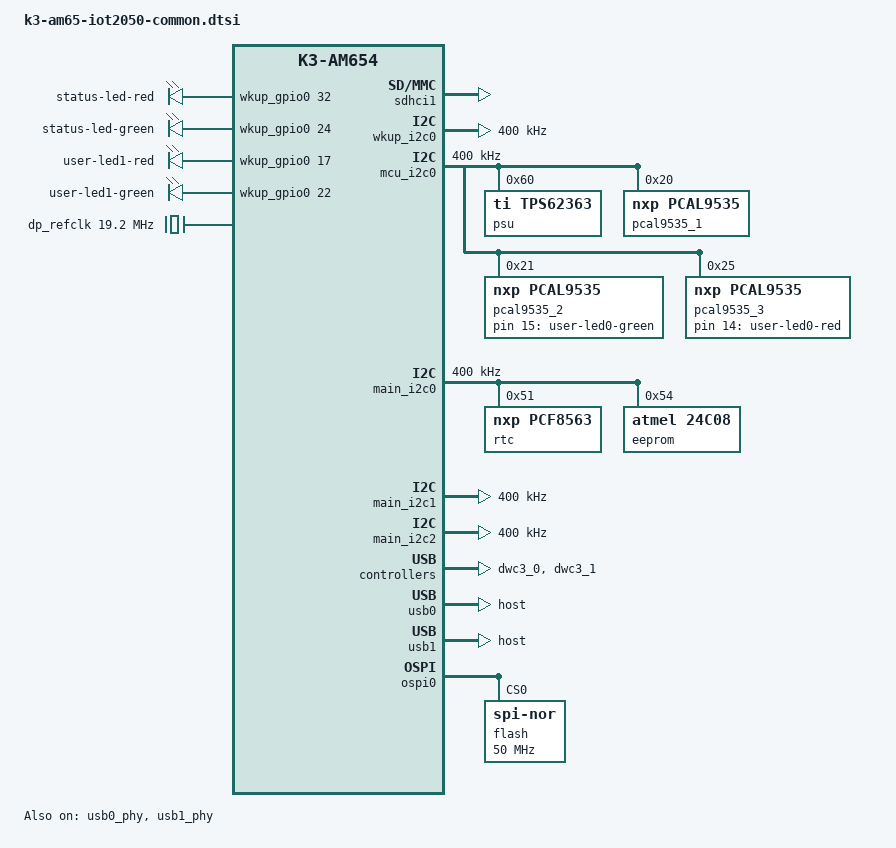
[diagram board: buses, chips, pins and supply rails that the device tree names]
// SPDX-License-Identifier: GPL-2.0
/*
 * Copyright (c) Siemens AG, 2018-2020
 *
 * Authors:
 *   Le Jin <le.jin@siemens.com>
 *   Jan Kiszka <jan.kiszk@siemens.com>
 */

/dts-v1/;

#include "k3-am654.dtsi"

/ {
	aliases {
		remoteproc0 = &mcu_r5fss0_core0;
		remoteproc1 = &mcu_r5fss0_core1;
		serial3 = &main_uart1;
	};

	chosen {
		stdout-path = "serial3:115200n8";
		bootargs = "earlycon=ns16550a,mmio32,0x02800000";
	};

	reserved-memory {
		#address-cells = <2>;
		#size-cells = <2>;
		ranges;

		secure_ddr: secure_ddr@9e800000 {
			reg = <0 0x9e800000 0 0x01800000>; /* for OP-TEE */
			alignment = <0x1000>;
			no-map;
		};
	};

	gpio_leds {
		compatible = "gpio-leds";
		pinctrl-names = "default";
		pinctrl-0 = <&leds_pins_default>;
		u-boot,dm-spl;

		status-led-red {
			gpios = <&wkup_gpio0 32 GPIO_ACTIVE_HIGH>;
			panic-indicator;
			linux,default-trigger = "gpio";
			u-boot,dm-spl;
		};

		status-led-green {
			gpios = <&wkup_gpio0 24 GPIO_ACTIVE_HIGH>;
			linux,default-trigger = "gpio";
			u-boot,dm-spl;
		};

		user-led0-red {
			gpios = <&pcal9535_3 14 GPIO_ACTIVE_HIGH>;
			linux,default-trigger = "gpio";
		};

		user-led0-green {
			gpios = <&pcal9535_2 15 GPIO_ACTIVE_HIGH>;
			linux,default-trigger = "gpio";
		};

		user-led1-red {
			gpios = <&wkup_gpio0 17 GPIO_ACTIVE_HIGH>;
			linux,default-trigger = "gpio";
		};

		user-led1-green {
			gpios = <&wkup_gpio0 22 GPIO_ACTIVE_HIGH>;
			linux,default-trigger = "gpio";
		};
	};

	dp_refclk: clock {
		compatible = "fixed-clock";
		#clock-cells = <0>;
		clock-frequency = <19200000>;
	};
};

&cbass_main {
	u-boot,dm-spl;

	sdhci1: sdhci@04FA0000 {
		compatible = "ti,am654-sdhci-5.1";
		reg = <0x0 0x4FA0000 0x0 0x1000>,
		      <0x0 0x4FB0000 0x0 0x400>;
		power-domains = <&k3_pds 48 TI_SCI_PD_EXCLUSIVE>;
		clocks = <&k3_clks 48 0>, <&k3_clks 48 1>;
		clock-names = "clk_ahb", "clk_xin";
		max-frequency = <25000000>;
		pinctrl-names = "default";
		pinctrl-0 = <&main_mmc1_pins_default>;
		sdhci-caps-mask = <0x7 0x200000>;
		ti,otap-del-sel-legacy = <0x0>;
		ti,otap-del-sel-mmc-hs = <0x0>;
		ti,otap-del-sel-sd-hs = <0x0>;
		ti,otap-del-sel-sdr12 = <0x0>;
		ti,otap-del-sel-sdr25 = <0x0>;
		ti,otap-del-sel-sdr50 = <0x8>;
		ti,otap-del-sel-sdr104 = <0x7>;
		ti,otap-del-sel-ddr50 = <0x4>;
		ti,otap-del-sel-ddr52 = <0x4>;
		ti,otap-del-sel-hs200 = <0x7>;
		ti,trm-icp = <0x8>;
		ti,driver-strength-ohm = <50>;
		status = "okay";
	};
};

&cbass_mcu {
	u-boot,dm-spl;
};

&cbass_wakeup {
	u-boot,dm-spl;

	wkup_gpio0: wkup_gpio0@42110000 {
		compatible = "ti,k2g-gpio", "ti,keystone-gpio";
		reg = <0x42110000 0x100>;
		gpio-controller;
		#gpio-cells = <2>;
		ti,ngpio = <56>;
		ti,davinci-gpio-unbanked = <0>;
		clocks = <&k3_clks 59 0>;
		clock-names = "gpio";
		u-boot,dm-spl;
	};
};

&wkup_pmx0 {
	u-boot,dm-spl;

	wkup_i2c0_pins_default: wkup_i2c0_pins_default {
		pinctrl-single,pins = <
			AM65X_WKUP_IOPAD(0x00e0, PIN_INPUT,  0)  /* (AC7) WKUP_I2C0_SCL */
			AM65X_WKUP_IOPAD(0x00e4, PIN_INPUT,  0)  /* (AD6) WKUP_I2C0_SDA */
		>;
	};

	mcu_i2c0_pins_default: mcu_i2c0_pins_default {
		pinctrl-single,pins = <
			AM65X_WKUP_IOPAD(0x00e8, PIN_INPUT,  0)  /* (AD8) MCU_I2C0_SCL */
			AM65X_WKUP_IOPAD(0x00ec, PIN_INPUT,  0)  /* (AD7) MCU_I2C0_SDA */
		>;
	};

	arduino_i2c_aio_switch_pins_default: arduino_i2c_aio_switch_pins_default {
		pinctrl-single,pins = <
			AM65X_WKUP_IOPAD(0x0024, PIN_OUTPUT, 7)  /* (R2) WKUP_GPIO0_21 */
		>;
	};

	push_button_pins_default: push_button_pins_default {
		pinctrl-single,pins = <
			AM65X_WKUP_IOPAD(0x0034, PIN_INPUT,  7)  /* (T1) MCU_OSPI1_CLK.WKUP_GPIO0_25 */
		>;
	};

	arduino_uart_pins_default: arduino_uart_pins_default {
		pinctrl-single,pins = <
			AM65X_WKUP_IOPAD(0x0044, PIN_INPUT,  4)  /* (P4) MCU_UART0_RXD */
			AM65X_WKUP_IOPAD(0x0048, PIN_OUTPUT, 4)  /* (P5) MCU_UART0_TXD */
		>;
	};

	arduino_io_d2_to_d3_pins_default: arduino_io_d2_to_d3_pins_default {
		pinctrl-single,pins = <
			AM65X_WKUP_IOPAD(0x004C, PIN_OUTPUT, 7)  /* (P1) WKUP_GPIO0_31 */
			AM65X_WKUP_IOPAD(0x0054, PIN_OUTPUT, 7)  /* (N3) WKUP_GPIO0_33 */
		>;
	};

	arduino_io_oe_pins_default: arduino_io_oe_pins_default {
		pinctrl-single,pins = <
			AM65X_WKUP_IOPAD(0x0058, PIN_OUTPUT, 7)  /* (N4) WKUP_GPIO0_34 */
			AM65X_WKUP_IOPAD(0x0060, PIN_OUTPUT, 7)  /* (M2) WKUP_GPIO0_36 */
			AM65X_WKUP_IOPAD(0x0064, PIN_OUTPUT, 7)  /* (M3) WKUP_GPIO0_37 */
			AM65X_WKUP_IOPAD(0x0068, PIN_OUTPUT, 7)  /* (M4) WKUP_GPIO0_38 */
			AM65X_WKUP_IOPAD(0x0074, PIN_OUTPUT, 7)  /* (M1) WKUP_GPIO0_41 */
		>;
	};

	mcu_fss0_ospi0_pins_default: mcu_fss0_ospi0_pins_default {
		pinctrl-single,pins = <
			AM65X_WKUP_IOPAD(0x0000, PIN_OUTPUT, 0)  /* (V1) MCU_OSPI0_CLK */
			AM65X_WKUP_IOPAD(0x0008, PIN_INPUT,  0)  /* (U2) MCU_OSPI0_DQS */
			AM65X_WKUP_IOPAD(0x000c, PIN_INPUT,  0)  /* (U4) MCU_OSPI0_D0 */
			AM65X_WKUP_IOPAD(0x0010, PIN_INPUT,  0)  /* (U5) MCU_OSPI0_D1 */
			AM65X_WKUP_IOPAD(0x002c, PIN_OUTPUT, 0)  /* (R4) MCU_OSPI0_CSn0 */
		>;
		u-boot,dm-spl;
	};

	db9_com_mode_pins_default: db9_com_mode_pins_default {
		pinctrl-single,pins = <
			AM65X_WKUP_IOPAD(0x00c4, PIN_OUTPUT, 7)  /* (AD3) WKUP_GPIO0_5, used as uart0 mode 0 */
			AM65X_WKUP_IOPAD(0x00c0, PIN_OUTPUT, 7)  /* (AC3) WKUP_GPIO0_4, used as uart0 mode 1 */
			AM65X_WKUP_IOPAD(0x00cc, PIN_OUTPUT, 7)  /* (AC1) WKUP_GPIO0_7, used as uart0 term */
			AM65X_WKUP_IOPAD(0x00c8, PIN_OUTPUT, 7)  /* (AC2) WKUP_GPIO0_6, used as uart0 en */
		>;
	};

	leds_pins_default: leds_pins_default {
		pinctrl-single,pins = <
			AM65X_WKUP_IOPAD(0x0014, PIN_OUTPUT, 7)  /* (T2) WKUP_GPIO0_17, used as user led1 red */
			AM65X_WKUP_IOPAD(0x0028, PIN_OUTPUT, 7)  /* (R3) WKUP_GPIO0_22, used as user led1 green */
			AM65X_WKUP_IOPAD(0x0030, PIN_OUTPUT, 7)  /* (R5) WKUP_GPIO0_24, used as status led red */
			AM65X_WKUP_IOPAD(0x0050, PIN_OUTPUT, 7)  /* (N2) WKUP_GPIO0_32, used as status led green */
		>;
	};

	mcu_spi0_pins_default: mcu_spi0_pins_default {
		pinctrl-single,pins = <
			AM65X_WKUP_IOPAD(0x0090, PIN_INPUT,  0)  /* (Y1) MCU_SPI0_CLK */
			AM65X_WKUP_IOPAD(0x0094, PIN_INPUT,  0)  /* (Y3) MCU_SPI0_D0 */
			AM65X_WKUP_IOPAD(0x0098, PIN_INPUT,  0)  /* (Y2) MCU_SPI0_D1 */
			AM65X_WKUP_IOPAD(0x009c, PIN_OUTPUT, 0)  /* (Y4) MCU_SPI0_CS0 */
		>;
	};

	minipcie_pins_default: minipcie_pins_default {
		pinctrl-single,pins = <
			AM65X_WKUP_IOPAD(0x003C, PIN_OUTPUT, 7)  /* (P2) MCU_OSPI1_DQS.WKUP_GPIO0_27 */
		>;
	};
};

&main_pmx0 {
	u-boot,dm-spl;

	main_uart1_pins_default: main_uart1_pins_default {
		pinctrl-single,pins = <
			AM65X_IOPAD(0x0174, PIN_INPUT,  6)  /* (AE23) UART1_RXD */
			AM65X_IOPAD(0x014c, PIN_OUTPUT, 6)  /* (AD23) UART1_TXD */
			AM65X_IOPAD(0x0178, PIN_INPUT,  6)  /* (AD22) UART1_CTSn */
			AM65X_IOPAD(0x017c, PIN_OUTPUT, 6)  /* (AC21) UART1_RTSn */
		>;
		u-boot,dm-spl;
	};

	main_i2c3_pins_default: main_i2c3_pins_default {
		pinctrl-single,pins = <
			AM65X_IOPAD(0x01c0, PIN_INPUT,  2)  /* (AF13) I2C3_SCL */
			AM65X_IOPAD(0x01d4, PIN_INPUT,  2)  /* (AG12) I2C3_SDA */
		>;
	};

	main_mmc1_pins_default: main_mmc1_pins_default {
		pinctrl-single,pins = <
			AM65X_IOPAD(0x02d4, PIN_INPUT_PULLDOWN, 0)  /* (C27) MMC1_CLK */
			AM65X_IOPAD(0x02d8, PIN_INPUT_PULLUP,   0)  /* (C28) MMC1_CMD */
			AM65X_IOPAD(0x02d0, PIN_INPUT_PULLUP,   0)  /* (D28) MMC1_DAT0 */
			AM65X_IOPAD(0x02cc, PIN_INPUT_PULLUP,   0)  /* (E27) MMC1_DAT1 */
			AM65X_IOPAD(0x02c8, PIN_INPUT_PULLUP,   0)  /* (D26) MMC1_DAT2 */
			AM65X_IOPAD(0x02c4, PIN_INPUT_PULLUP,   0)  /* (D27) MMC1_DAT3 */
			AM65X_IOPAD(0x02dc, PIN_INPUT_PULLUP,   0)  /* (B24) MMC1_SDCD */
			AM65X_IOPAD(0x02e0, PIN_INPUT_PULLUP,   0)  /* (C24) MMC1_SDWP */
		>;
	};

	usb0_pins_default: usb0_pins_default {
		pinctrl-single,pins = <
			AM65X_IOPAD(0x02bc, PIN_OUTPUT, 0)  /* (AD9) USB0_DRVVBUS */
		>;
	};

	usb1_pins_default: usb1_pins_default {
		pinctrl-single,pins = <
			AM65X_IOPAD(0x02c0, PIN_OUTPUT, 0)  /* (AC8) USB1_DRVVBUS */
		>;
	};

	arduino_io_d4_to_d9_pins_default: arduino_io_d4_to_d9_pins_default {
		pinctrl-single,pins = <
			AM65X_IOPAD(0x0084, PIN_OUTPUT, 7)  /* (AG18) GPIO0_33 */
			AM65X_IOPAD(0x008C, PIN_OUTPUT, 7)  /* (AF17) GPIO0_35 */
			AM65X_IOPAD(0x0098, PIN_OUTPUT, 7)  /* (AH16) GPIO0_38 */
			AM65X_IOPAD(0x00AC, PIN_OUTPUT, 7)  /* (AH15) GPIO0_43 */
			AM65X_IOPAD(0x00C0, PIN_OUTPUT, 7)  /* (AG15) GPIO0_48 */
			AM65X_IOPAD(0x00CC, PIN_OUTPUT, 7)  /* (AD15) GPIO0_51 */
		>;
	};

	dss_vout1_pins_default: dss_vout1_pins_default {
		pinctrl-single,pins = <
			AM65X_IOPAD(0x0000, PIN_OUTPUT, 1)  /* VOUT1_DATA0 */
			AM65X_IOPAD(0x0004, PIN_OUTPUT, 1)  /* VOUT1_DATA1 */
			AM65X_IOPAD(0x0008, PIN_OUTPUT, 1)  /* VOUT1_DATA2 */
			AM65X_IOPAD(0x000c, PIN_OUTPUT, 1)  /* VOUT1_DATA3 */
			AM65X_IOPAD(0x0010, PIN_OUTPUT, 1)  /* VOUT1_DATA4 */
			AM65X_IOPAD(0x0014, PIN_OUTPUT, 1)  /* VOUT1_DATA5 */
			AM65X_IOPAD(0x0018, PIN_OUTPUT, 1)  /* VOUT1_DATA6 */
			AM65X_IOPAD(0x001c, PIN_OUTPUT, 1)  /* VOUT1_DATA7 */
			AM65X_IOPAD(0x0020, PIN_OUTPUT, 1)  /* VOUT1_DATA8 */
			AM65X_IOPAD(0x0024, PIN_OUTPUT, 1)  /* VOUT1_DATA9 */
			AM65X_IOPAD(0x0028, PIN_OUTPUT, 1)  /* VOUT1_DATA10 */
			AM65X_IOPAD(0x002c, PIN_OUTPUT, 1)  /* VOUT1_DATA11 */
			AM65X_IOPAD(0x0030, PIN_OUTPUT, 1)  /* VOUT1_DATA12 */
			AM65X_IOPAD(0x0034, PIN_OUTPUT, 1)  /* VOUT1_DATA13 */
			AM65X_IOPAD(0x0038, PIN_OUTPUT, 1)  /* VOUT1_DATA14 */
			AM65X_IOPAD(0x003c, PIN_OUTPUT, 1)  /* VOUT1_DATA15 */
			AM65X_IOPAD(0x0040, PIN_OUTPUT, 1)  /* VOUT1_DATA16 */
			AM65X_IOPAD(0x0044, PIN_OUTPUT, 1)  /* VOUT1_DATA17 */
			AM65X_IOPAD(0x0048, PIN_OUTPUT, 1)  /* VOUT1_DATA18 */
			AM65X_IOPAD(0x004c, PIN_OUTPUT, 1)  /* VOUT1_DATA19 */
			AM65X_IOPAD(0x0050, PIN_OUTPUT, 1)  /* VOUT1_DATA20 */
			AM65X_IOPAD(0x0054, PIN_OUTPUT, 1)  /* VOUT1_DATA21 */
			AM65X_IOPAD(0x0058, PIN_OUTPUT, 1)  /* VOUT1_DATA22 */
			AM65X_IOPAD(0x005c, PIN_OUTPUT, 1)  /* VOUT1_DATA23 */
			AM65X_IOPAD(0x0060, PIN_OUTPUT, 1)  /* VOUT1_VSYNC */
			AM65X_IOPAD(0x0064, PIN_OUTPUT, 1)  /* VOUT1_HSYNC */
			AM65X_IOPAD(0x0068, PIN_OUTPUT, 1)  /* VOUT1_PCLK */
			AM65X_IOPAD(0x006c, PIN_OUTPUT, 1)  /* VOUT1_DE */
		>;
	};

	dp_pins_default: dp_pins_default {
		pinctrl-single,pins = <
			AM65X_IOPAD(0x0078, PIN_OUTPUT, 7)  /* (AF18) DP rst_n */
		>;
	};

	main_i2c2_pins_default: main_i2c2_pins_default {
		pinctrl-single,pins = <
			AM65X_IOPAD(0x0074, PIN_INPUT,  5)  /* (T27) I2C2_SCL */
			AM65X_IOPAD(0x0070, PIN_INPUT,  5)  /* (R25) I2C2_SDA */
		>;
	};
};

&main_pmx1 {
	main_i2c0_pins_default: main-i2c0-pins-default {
		pinctrl-single,pins = <
			AM65X_IOPAD(0x0000, PIN_INPUT,  0)  /* (D20) I2C0_SCL */
			AM65X_IOPAD(0x0004, PIN_INPUT,  0)  /* (C21) I2C0_SDA */
		>;
	};

	main_i2c1_pins_default: main-i2c1-pins-default {
		pinctrl-single,pins = <
			AM65X_IOPAD(0x0008, PIN_INPUT,  0)  /* (B21) I2C1_SCL */
			AM65X_IOPAD(0x000c, PIN_INPUT,  0)  /* (E21) I2C1_SDA */
		>;
	};

	ecap0_pins_default: ecap0-pins-default {
		pinctrl-single,pins = <
			AM65X_IOPAD(0x0010, PIN_INPUT,  0)  /* (D21) ECAP0_IN_APWM_OUT */
		>;
	};
};

&wkup_uart0 {
	/* Wakeup UART is used by System firmware */
	status = "disabled";
};

&main_uart1 {
	u-boot,dm-spl;
	pinctrl-names = "default";
	pinctrl-0 = <&main_uart1_pins_default>;
};

&main_uart2 {
	status = "disabled";
};

&mcu_uart0 {
	pinctrl-names = "default";
	pinctrl-0 = <&arduino_uart_pins_default>;
};

&wkup_gpio0 {
	pinctrl-names = "default";
	pinctrl-0 = <
		&arduino_io_d2_to_d3_pins_default
		&arduino_i2c_aio_switch_pins_default
		&arduino_io_oe_pins_default
		&push_button_pins_default
		&db9_com_mode_pins_default
	>;
};

&wkup_i2c0 {
	pinctrl-names = "default";
	pinctrl-0 = <&wkup_i2c0_pins_default>;
	clock-frequency = <400000>;
};

&mcu_i2c0 {
	pinctrl-names = "default";
	pinctrl-0 = <&mcu_i2c0_pins_default>;
	clock-frequency = <400000>;

	psu: tps62363@60 {
		compatible = "ti,tps62363";
		reg =  <0x60>;
		regulator-name = "tps62363-vout";
		regulator-min-microvolt = <500000>;
		regulator-max-microvolt = <1500000>;
		regulator-boot-on;
		/* ti,vsel0-gpio = <&gpio1 16 0>; */
		/* ti,vsel1-gpio = <&gpio1 17 0>; */
		ti,vsel0-state-high;
		ti,vsel1-state-high;
		/* ti,enable-pull-down; */
		/* ti,enable-force-pwm; */
		ti,enable-vout-discharge;
	};

	/*D4200*/
	pcal9535_1: gpio@20 {
		compatible = "nxp,pcal9535";
		reg = <0x20>;
		#gpio-cells = <2>;
		gpio-controller;
	};

	/*D4201*/
	pcal9535_2: gpio@21 {
		compatible = "nxp,pcal9535";
		reg = <0x21>;
		#gpio-cells = <2>;
		gpio-controller;
	};

	/*D4202*/
	pcal9535_3: gpio@25 {
		compatible = "nxp,pcal9535";
		reg = <0x25>;
		#gpio-cells = <2>;
		gpio-controller;
	};
};

&main_i2c0 {
	pinctrl-names = "default";
	pinctrl-0 = <&main_i2c0_pins_default>;
	clock-frequency = <400000>;

	rtc:rtc8564@51 {
		compatible = "nxp,pcf8563";
		reg = <0x51>;
	};

	eeprom: eeprom@54 {
		compatible = "atmel,24c08";
		reg = <0x54>;
		pagesize = <16>;
	};
};

&main_i2c1 {
	pinctrl-names = "default";
	pinctrl-0 = <&main_i2c1_pins_default>;
	clock-frequency = <400000>;
};

&main_i2c2 {
	pinctrl-names = "default";
	pinctrl-0 = <&main_i2c2_pins_default>;
	clock-frequency = <400000>;
};

&mcu_cpsw {
	status = "disabled";
};

&dwc3_0 {
	status = "okay";
};

&usb0_phy {
	status = "okay";
};

&usb0 {
	pinctrl-names = "default";
	pinctrl-0 = <&usb0_pins_default>;
	dr_mode = "host";
};

&dwc3_1 {
	status = "okay";
};

&usb1_phy {
	status = "okay";
};

&usb1 {
	pinctrl-names = "default";
	pinctrl-0 = <&usb1_pins_default>;
	dr_mode = "host";
};

&ospi0 {
	pinctrl-names = "default";
	pinctrl-0 = <&mcu_fss0_ospi0_pins_default>;
	u-boot,dm-spl;

	flash@0 {
		compatible = "jedec,spi-nor";
		reg = <0x0>;
		spi-tx-bus-width = <1>;
		spi-rx-bus-width = <1>;
		spi-max-frequency = <50000000>;
		cdns,tshsl-ns = <60>;
		cdns,tsd2d-ns = <60>;
		cdns,tchsh-ns = <60>;
		cdns,tslch-ns = <60>;
		cdns,read-delay = <2>;
		#address-cells = <1>;
		#size-cells = <1>;
		u-boot,dm-spl;
	};
};

&serdes0 {
	status = "disabled";
};

&pcie0_rc {
	status = "disabled";
};

&secure_proxy_main {
	u-boot,dm-spl;
};

&dmsc {
	u-boot,dm-spl;
	k3_sysreset: sysreset-controller {
		compatible = "ti,sci-sysreset";
		u-boot,dm-spl;
	};
};

&k3_pds {
	u-boot,dm-spl;
};

&k3_clks {
	u-boot,dm-spl;
};

&k3_reset {
	u-boot,dm-spl;
};

&fss {
	u-boot,dm-spl;
};
